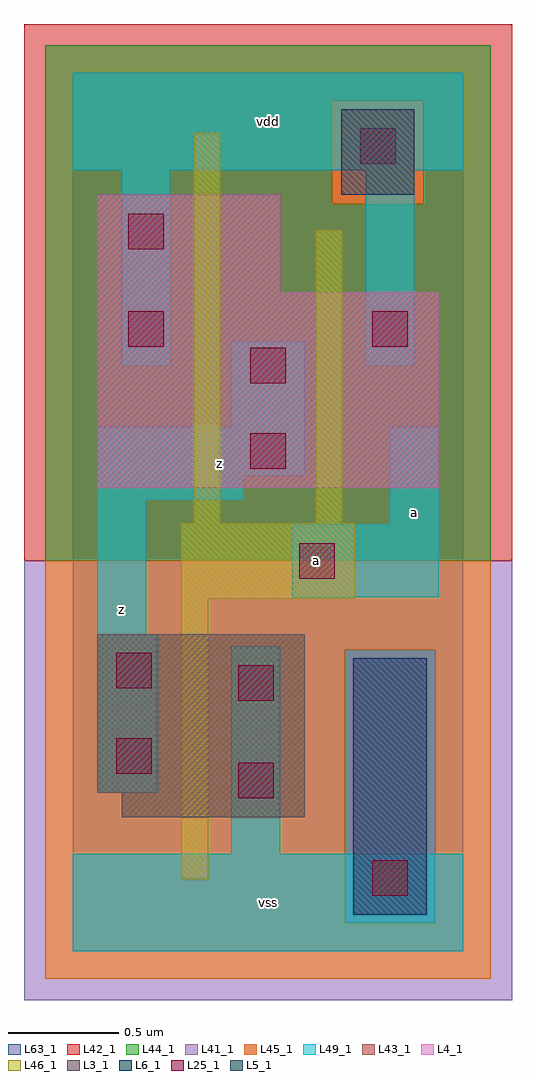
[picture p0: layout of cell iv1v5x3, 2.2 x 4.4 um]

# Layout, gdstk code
import gdstk
lib = gdstk.Library(unit=1e-6, precision=1e-09)
def R(c, l, rs):  # rectangles x0, y0, x1, y1
    for r in rs: c.add(gdstk.rectangle(r[:2], r[2:], *l))
L3_1 = (3, 1)
L4_1 = (4, 1)
L5_1 = (5, 1)
L6_1 = (6, 1)
L25_1 = (25, 1)
L41_1 = (41, 1)
L42_1 = (42, 1)
L43_1 = (43, 1)
L44_1 = (44, 1)
L45_1 = (45, 1)
L46_1 = (46, 1)
L49_1 = (49, 1)
L63_1 = (63, 1)

iv1v5x3 = lib.new_cell('iv1v5x3')
R(iv1v5x3, L3_1, [(0.22,0.605,1.045,0.715), (0.11,0.715,1.045,1.43)])
R(iv1v5x3, L4_1, [(0.11,2.09,1.65,2.97), (0.11,2.97,0.935,3.41)])
R(iv1v5x3, L5_1, [(1.21,3.41,1.54,3.795)])
R(iv1v5x3, L6_1, [(1.265,0.165,1.595,1.32)])
R(iv1v5x3, L25_1, [(1.35,0.25,1.51,0.41), (0.745,0.69,0.905,0.85), (0.195,0.8,0.355,0.96), (0.745,1.13,0.905,1.29), (0.195,1.185,0.355,1.345), (1.02,1.68,1.18,1.84), (0.8,2.175,0.96,2.335), (0.8,2.56,0.96,2.72), (0.25,2.725,0.41,2.885), (1.35,2.725,1.51,2.885), (0.25,3.165,0.41,3.325), (1.295,3.55,1.455,3.71)])
R(iv1v5x3, L41_1, [(-0.22,-0.22,1.98,1.76)])
R(iv1v5x3, L42_1, [(-0.22,1.76,1.98,4.18)])
R(iv1v5x3, L43_1, [(1.265,0.165,1.595,1.32), (0.22,0.605,1.045,0.715), (0.11,0.715,1.045,1.43), (0.11,2.09,1.65,2.97), (0.11,2.97,0.935,3.41), (1.21,3.41,1.54,3.795)])
R(iv1v5x3, L44_1, [(1.225,0.125,1.635,1.36), (-0.125,1.76,1.885,3.37), (-0.125,3.37,1.17,3.835), (1.58,3.37,1.885,3.835), (-0.125,3.835,1.885,4.085)])
R(iv1v5x3, L45_1, [(-0.125,-0.125,1.885,0.125), (-0.125,0.125,1.225,1.36), (1.635,0.125,1.885,1.36), (-0.125,1.36,1.885,1.76), (1.17,3.37,1.58,3.835)])
R(iv1v5x3, L46_1, [(0.49,0.325,0.61,1.59), (0.49,1.59,1.27,1.93), (0.545,1.93,0.665,3.69), (1.095,1.93,1.215,3.25)])
R(iv1v5x3, L49_1, [(0,0,1.76,0.44), (0.715,0.44,0.935,1.375), (0.11,0.715,0.385,1.43), (0.11,1.43,0.33,2.035), (0.99,1.595,1.65,1.925), (1.43,1.925,1.65,2.365), (0.11,2.035,0.77,2.145), (0.11,2.145,1.045,2.365), (0.715,2.365,1.045,2.75), (0.22,2.64,0.44,3.52), (1.32,2.64,1.54,3.52), (0,3.52,1.76,3.96)])
R(iv1v5x3, L63_1, [(0,0,1.76,3.96)])
iv1v5x3.add(gdstk.Label('z', (0.22,1.54), layer=49, texttype=1))
iv1v5x3.add(gdstk.Label('z', (0.66,2.2), layer=49, texttype=1))
iv1v5x3.add(gdstk.Label('vss', (0.88,0.22), layer=49, texttype=1))
iv1v5x3.add(gdstk.Label('a', (1.1,1.76), layer=49, texttype=1))
iv1v5x3.add(gdstk.Label('vdd', (0.88,3.74), layer=49, texttype=1))
iv1v5x3.add(gdstk.Label('a', (1.54,1.98), layer=49, texttype=1))

lib.write_gds('iv1v5x3.gds')
